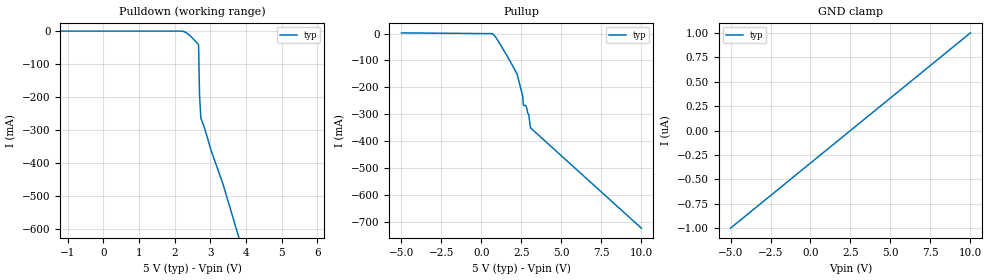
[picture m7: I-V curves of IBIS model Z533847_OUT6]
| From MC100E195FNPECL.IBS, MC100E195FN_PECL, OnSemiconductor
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| (C) COPYRIGHT 1993-2000
| MENTOR GRAPHICS CORPORATION
| ICX STANDARD LIBRARY, ICX PROJECT MODELING,
| ICX CUSTOM MODELING, ICX VENDOR MODEL
| ALL RIGHTS RESERVED.
| THE FOLLOWING ARE TRADEMARKS OR SERVICE MARKS OF
| MENTOR GRAPHICS CORPORATION:ICX (R), ICX STANDARD
| LIBRARY(R), ICX PROJECT MODELING(R), ICX CUSTOM
| MODELING(R), qualityIBIS(TM), MODELVIEWER(TM),
| AND MODELEDITOR(TM)
| ALL COPIES OF SOFTWARE, INCLUDING BUT NOT LIMITED TO
| ANY MODIFICATIONS, ENHANCEMENTS OR DERIVATIVE WORKS,
| MUST CONTAIN ALL MENTOR GRAPHICS CORPORATION'S
| NOTICES AND LEGENDS, INCLUDING THOSE EMBEDDED IN
| SOFTWARE AND THOSE AFFIXED TO SOFTWARE MEDIUM
| AND CONTAINER, AS RECEIVED FROM MENTOR GRAPHICS
| CORPORATION.
| Model Application Version 1.89 2/18/99.
[Model] Z533847_OUT6
Model_type Output_ECL
Vref=3.000V
Rref=50.00ohms
Cref=0.000F
Vmeas=3.677V
C_comp 8.000pF NA NA
| variable typ   min   max
[Voltage Range] 5.000V NA NA
[POWER Clamp Reference] 5.000V NA NA
[Pullup Reference] 5.000V NA NA
[Pulldown Reference] 5.000V NA NA
[GND Clamp Reference] 0.000V NA NA
[GND Clamp]
-5V       -1uA       NA         NA
10V       1uA        NA         NA
[Pulldown]
-5V       254.9uA    NA         NA
2.258V    -1.118mA   NA         NA
2.373V    -8.062mA   NA         NA
2.674V    -40.69mA   NA         NA
2.7V      -191.8mA   NA         NA
2.738V    -263.4mA   NA         NA
2.842V    -294.1mA   NA         NA
3.027V    -362.2mA   NA         NA
3.359V    -463.9mA   NA         NA
10V       -2.883A    NA         NA
[Pullup]
-5V       2.645mA    NA         NA
762mV     -3.614mA   NA         NA
2.222V    -149.5mA   NA         NA
2.592V    -235.2mA   NA         NA
2.601V    -254.2mA   NA         NA
2.635V    -267.4mA   NA         NA
2.773V    -267.4mA   NA         NA
2.894V    -296.7mA   NA         NA
2.959V    -300.9mA   NA         NA
3.047V    -343.6mA   NA         NA
3.079V    -351.2mA   NA         NA
10V       -723.9mA   NA         NA
[POWER Clamp]
-5V       0A         NA         NA
10V       0A         NA         NA
[Ramp]
| variable typ min max
dV/dt_r 904.7m/1.976n NA NA
dV/dt_f 904.7m/1.494n NA NA
R_load = 500.0Ohms
